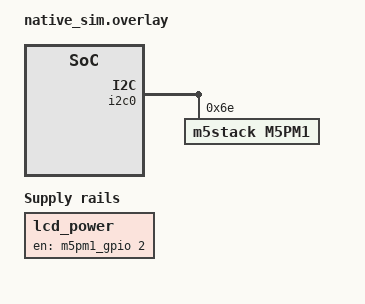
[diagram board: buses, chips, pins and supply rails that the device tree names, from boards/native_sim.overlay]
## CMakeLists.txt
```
# Copyright (c) 2026 Hsiu-Chi Tsai
# SPDX-License-Identifier: Apache-2.0

cmake_minimum_required(VERSION 3.20.0)
find_package(Zephyr REQUIRED HINTS $ENV{ZEPHYR_BASE})
project(m5pm1_mfd_test)

target_sources(app PRIVATE src/main.c)
```

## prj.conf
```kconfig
# Copyright (c) 2026 Hsiu-Chi Tsai
# SPDX-License-Identifier: Apache-2.0

CONFIG_ZTEST=y

CONFIG_I2C=y
CONFIG_I2C_EMUL=y
CONFIG_EMUL=y

# On-board M5PM1 path: MFD parent + GPIO child + ADC child + regulator-fixed.
CONFIG_MFD=y
CONFIG_GPIO=y
CONFIG_ADC=y
CONFIG_REGULATOR=y

# MFD-path emulator (drivers/mfd/emul_m5pm1.c). Its own symbol so it can never
# clash with another M5PM1 emulator backend in the same image.
CONFIG_EMUL_M5PM1_MFD=y

# Match the on-board POST_KERNEL ordering: I2C(50) < MFD(80) < adc(81) <
# gpio(82) < regulator-fixed(83), so the regulator-fixed enables the rail
# only after the MFD and its GPIO child are ready (see app/prj.conf,
# docs/02_SDD.md, docs/03_TDD.md).
CONFIG_REGULATOR_FIXED_INIT_PRIORITY=83

CONFIG_LOG=y
```

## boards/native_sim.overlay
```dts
/*
 * Copyright (c) 2026 Hsiu-Chi Tsai
 * SPDX-License-Identifier: Apache-2.0
 *
 * Mirrors the on-board M5PM1 topology (app/boards/m5stack_sticks3_esp32s3_procpu.overlay): the
 * `m5stack,m5pm1` MFD parent on I2C, a `m5stack,m5pm1-gpio` child, a
 * `m5stack,m5pm1-adc` child with VBAT on channel 1, and a top-level
 * `regulator-fixed` whose enable line is the MFD GPIO child's pin 2 (PYG2,
 * the L3B / LCD rail). regulator-boot-on auto-enables the rail at init.
 *
 * The devices init at boot in the documented POST_KERNEL order I2C(50) <
 * MFD(80) < adc(81) < gpio(82) < regulator-fixed(83) (set via
 * CONFIG_REGULATOR_FIXED_INIT_PRIORITY=83 in prj.conf, matching app/prj.conf).
 * The emulator backend (i2c0 emul controller, priority 50) seeds its register
 * file and injects the wake-drop fault BEFORE the MFD inits, so the boot path
 * exercised here is the same one the board runs.
 */

#include <zephyr/dt-bindings/gpio/gpio.h>
#include <zephyr/dt-bindings/adc/adc.h>

/ {
	/*
	 * L3B (LCD/peripheral) power rail, switched by M5PM1 GPIO2 (PYG2),
	 * exactly as on the board. Modeled as a regulator-fixed enabled at boot.
	 */
	lcd_power: lcd-l3b {
		compatible = "regulator-fixed";
		regulator-name = "lcd-l3b";
		enable-gpios = <&m5pm1_gpio 2 GPIO_ACTIVE_HIGH>;
		regulator-boot-on;
	};
};

&i2c0 {
	status = "okay";

	m5pm1: pmic@6e {
		compatible = "m5stack,m5pm1";
		reg = <0x6e>;
		status = "okay";

		m5pm1_gpio: gpio {
			compatible = "m5stack,m5pm1-gpio";
			gpio-controller;
			#gpio-cells = <2>;
			ngpios = <5>;
			status = "okay";
		};

		m5pm1_adc: adc {
			compatible = "m5stack,m5pm1-adc";
			#io-channel-cells = <1>;
			#address-cells = <1>;
			#size-cells = <0>;
			status = "okay";

			/* Channel 1 = VBAT (battery voltage, reported in mV). */
			channel@1 {
				reg = <1>;
				zephyr,gain = "ADC_GAIN_1";
				zephyr,reference = "ADC_REF_INTERNAL";
				zephyr,acquisition-time = <ADC_ACQ_TIME_DEFAULT>;
				zephyr,resolution = <12>;
			};
		};
	};
};
```

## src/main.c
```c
/*
 * Copyright (c) 2026 Hsiu-Chi Tsai
 *
 * SPDX-License-Identifier: Apache-2.0
 *
 * native_sim ztest for the ON-BOARD M5PM1 path: the `m5stack,m5pm1` MFD parent
 * (mfd_m5pm1.c) + its GPIO child (gpio_m5pm1.c) + ADC child (adc_m5pm1.c) + a
 * top-level regulator-fixed switched by the MFD GPIO2 (PYG2 = L3B/LCD rail).
 *
 * This covers the path the board actually uses. In particular, the idle-sleep
 * disable + wake-retry that mfd_m5pm1.c adds over Zephyr PR #109961 (a LOCAL
 * DELTA -- see that file's header and docs/07_UPSTREAM_PLAN.md) is exercised
 * here. (The earlier interim `m5stack,m5pm1-l3b-regulator` driver + its ztest
 * were removed once this MFD path was hardware-verified.)
 *
 * Strategy: the MFD/gpio/adc/regulator-fixed devices init at boot in the
 * on-board POST_KERNEL order (I2C 50 < MFD 80 < adc 81 < gpio 82 <
 * regulator-fixed 83). The emulator backend inits earlier (i2c emul controller,
 * priority 50) and there seeds every driver-touched register to the OPPOSITE of
 * its expected post-init value AND injects a single I2C fault. So by the time
 * the suite runs, the registers reflect what the drivers actually did at boot,
 * and each assertion fails if the matching driver write is missing. See
 * drivers/mfd/emul_m5pm1.c for the seeded boot state.
 */

#include <zephyr/ztest.h>
#include <zephyr/device.h>
#include <zephyr/drivers/adc.h>
#include <zephyr/drivers/emul.h>
#include <zephyr/drivers/regulator.h>
#include <zephyr/sys/util.h>

#define MFD_NODE DT_NODELABEL(m5pm1)

static const struct device *const mfd = DEVICE_DT_GET(MFD_NODE);
static const struct device *const adc = DEVICE_DT_GET(DT_NODELABEL(m5pm1_adc));
static const struct device *const reg = DEVICE_DT_GET(DT_NODELABEL(lcd_power));
static const struct emul *const emul = EMUL_DT_GET(MFD_NODE);

/* Emulator test backend (defined in drivers/mfd/emul_m5pm1.c). */
extern uint8_t emul_m5pm1_peek(const struct emul *target, uint8_t reg);
extern int emul_m5pm1_last_write(const struct emul *target, uint8_t reg);

/* M5PM1 register map (subset). */
#define M5PM1_REG_I2C_CFG 0x09
#define M5PM1_GPIO_MODE   0x10
#define M5PM1_GPIO_OUT    0x11
#define M5PM1_GPIO_DRV    0x13
#define M5PM1_GPIO_FUNC0  0x16

#define PYG2             BIT(2)
#define FUNC0_GPIO2_MASK (0x3U << 4) /* GPIO2 occupies FUNC0 bits [5:4] */
#define I2C_CFG_SLP_TO   0x0FU       /* I2C_CFG[3:0] = idle-sleep timeout, 0 = disabled */

/* VBAT logical channel on the M5PM1 ADC (overlay channel@1). */
#define VBAT_CHANNEL 1
#define VBAT_TEST_MV 4180 /* must match the seed in emul_m5pm1.c */

/*
 * TEST 1: mfd_m5pm1 init must DISABLE idle-sleep, i.e. leave I2C_CFG[3:0] = 0.
 *
 * The requirement is the SLP_TO field, not the whole byte. This test used to
 * assert the byte was 0x00, which passed only because the copy of the driver
 * this repo vendored wrote 0x00 over the whole register. The upstream driver
 * (Zephyr PR #109961) read-modify-writes instead, clearing only bits 3:0 and
 * preserving 7:4, so against the emulator's 0xFF seed it writes 0xF0 -- the
 * same requirement met without clobbering the neighbouring bits. Asserting the
 * byte was testing the vendored clobber, not idle-sleep being off.
 *
 * Still load-bearing: the emulator seeds 0x09 = 0xFF, whose SLP_TO is 0xF, so a
 * no-op leaves a non-zero field; and last_write(0x09) returns -1 if 0x09 was
 * never written at all. Delete the I2C_CFG write from the driver and this test
 * still fails (last_write -> -1, peek's field -> 0xF).
 */
ZTEST(m5pm1_mfd, test_mfd_init_disables_idle_sleep)
{
	int last_write;

	zassert_true(device_is_ready(mfd), "MFD not ready");

	last_write = emul_m5pm1_last_write(emul, M5PM1_REG_I2C_CFG);
	zassert_true(last_write >= 0, "init must WRITE idle-sleep reg 0x09 at all (last_write %d)",
		     last_write);
	zassert_equal(last_write & I2C_CFG_SLP_TO, 0x00,
		      "init must clear SLP_TO in reg 0x09 (wrote 0x%02x)", last_write);
	zassert_equal(emul_m5pm1_peek(emul, M5PM1_REG_I2C_CFG) & I2C_CFG_SLP_TO, 0x00,
		      "reg 0x09 SLP_TO should read 0 after init (was seeded 0xFF)");
}

/*
 * TEST 2: the wake-retry absorbs a dropped first transaction.
 *
 * The emulator failed the very first I2C transfer at boot (the MFD's first ID
 * read). The MFD must STILL be ready, because mfd_m5pm1_init() retries the ID
 * read up to 3x. Load-bearing: with the retry removed, that first -EIO would
 * abort init and the device would be not-ready -- failing this assertion. (We
 * also know test 1 passed, proving the retry recovered far enough to complete
 * the full init, not merely the ID read.)
 */
ZTEST(m5pm1_mfd, test_mfd_init_wake_retry)
{
	zassert_true(device_is_ready(mfd),
		     "MFD must be ready despite a dropped first I2C transfer (wake-retry)");
}

/*
 * TEST 3: enabling the regulator-fixed drives PYG2 (L3B/LCD rail) high via the
 * MFD GPIO child, using the full plain-GPIO push-pull output-high sequence.
 *
 * Load-bearing: the emulator seeded FUNC0/MODE/OUT/DRV for PYG2 to the opposite
 * of the expected state, so each bit assertion requires a real driver write.
 * regulator-boot-on auto-enabled the rail at boot.
 */
ZTEST(m5pm1_mfd, test_l3b_enable_drives_pyg2)
{
	zassert_true(device_is_ready(reg), "regulator not ready");
	zassert_true(regulator_is_enabled(reg),
		     "rail should be enabled at boot (regulator-boot-on)");

	zassert_equal(emul_m5pm1_peek(emul, M5PM1_GPIO_FUNC0) & FUNC0_GPIO2_MASK, 0U,
		      "FUNC0 GPIO2 field [5:4] should be cleared to plain GPIO");
	zassert_true(emul_m5pm1_peek(emul, M5PM1_GPIO_MODE) & PYG2,
		     "GPIO_MODE bit2 should be output");
	zassert_false(emul_m5pm1_peek(emul, M5PM1_GPIO_DRV) & PYG2,
		      "GPIO_DRV bit2 should be push-pull (0)");
	zassert_true(emul_m5pm1_peek(emul, M5PM1_GPIO_OUT) & PYG2,
		     "GPIO_OUT bit2 should be driven high");
}

/*
 * TEST 4: the ADC reads VBAT (logical channel 1) back as the seeded millivolts.
 *
 * Load-bearing: the emulator's VBAT register pair was seeded to 4180; the read
 * must surface exactly that. A wrong register, byte order, or channel mapping
 * yields a different value.
 */
ZTEST(m5pm1_mfd, test_adc_vbat_reads_mv)
{
	uint16_t sample = 0;
	struct adc_channel_cfg ch_cfg = {
		.gain = ADC_GAIN_1,
		.reference = ADC_REF_INTERNAL,
		.acquisition_time = ADC_ACQ_TIME_DEFAULT,
		.channel_id = VBAT_CHANNEL,
	};
	struct adc_sequence seq = {
		.channels = BIT(VBAT_CHANNEL),
		.buffer = &sample,
		.buffer_size = sizeof(sample),
		.resolution = 12,
	};

	zassert_true(device_is_ready(adc), "ADC not ready");

	zassert_ok(adc_channel_setup(adc, &ch_cfg), "VBAT channel setup failed");
	zassert_ok(adc_read(adc, &seq), "VBAT adc_read failed");
	zassert_equal(sample, VBAT_TEST_MV, "VBAT should read %d mV, got %u", VBAT_TEST_MV, sample);
}

ZTEST_SUITE(m5pm1_mfd, NULL, NULL, NULL, NULL, NULL);
```
